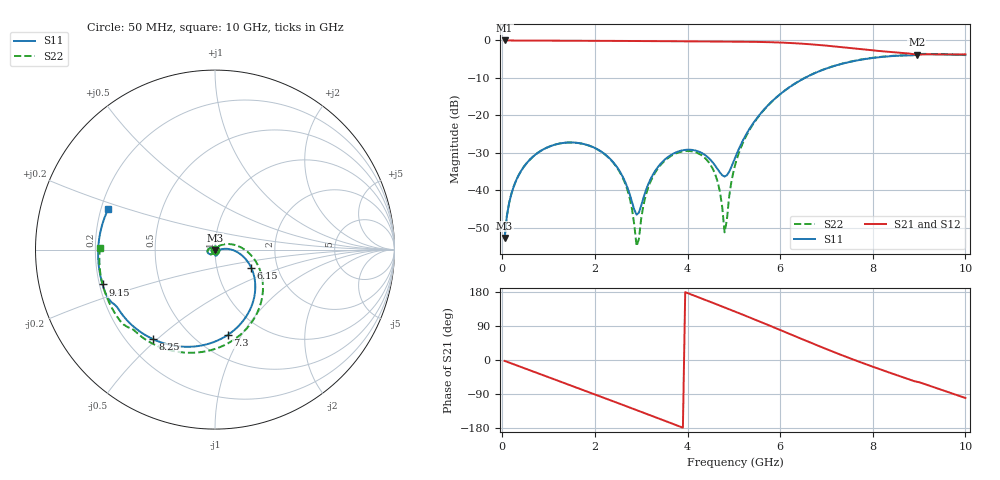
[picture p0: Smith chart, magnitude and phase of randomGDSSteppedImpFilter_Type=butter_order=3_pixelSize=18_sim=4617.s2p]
! freq	dB(S11)	phase(S11)	dB(S12)	phase(S12)
!  dB(S21)	phase(S21)	dB(S22)	phase(S22)
!S-par simulation data
#  GHz  S  DB  R 50
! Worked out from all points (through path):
!   200 points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, 50 MHz to 10 GHz, reference 50 ohm
!   highest |S21| = -0.01 dB at 50 MHz (marker M1); lowest = -3.8 dB at 8.95 GHz (marker M2)
!   group delay of S21, straight-line fit = 131 ps
!   lowest |S11| = -52.8 dB at 50 MHz (marker M3), VSWR 1.00, Z = 50 - j0.23 ohm
!   |S11| at or under -10 dB: start of sweep to 6.535 GHz
!   |S22| runs from -54.9 to -3.6 dB; largest |S21 - S12| = 0
!   S11 on the Smith chart (normalised r, x): 50 MHz: 1.00, -0.00; 6.15 GHz: 1.47, -0.31; 7.3 GHz: 0.70, -0.87; 8.25 GHz: 0.31, -0.49; 9.15 GHz: 0.21, -0.14; 10 GHz: 0.23, +0.17
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0.05  -52.76 -91.0  -0.01 -2.3  -0.01 -2.3  -52.76 -90.9
0.2  -40.78 -99.1  -0.02 -9.2  -0.02 -9.2  -40.78 -99.0
0.55  -32.42 -115.8  -0.03 -25.1  -0.03 -25.1  -32.42 -115.6
1.75  -27.62 -173.1  -0.09 -79.5  -0.09 -79.5  -27.64 -171.8
2.55  -35.22 140.6  -0.13 -116.1  -0.13 -116.1  -35.43 148.0
2.75  -40.99 115.5  -0.14 -125.3  -0.14 -125.3  -42.01 132.7
2.9  -46.51 56.9  -0.15 -132.2  -0.15 -132.2  -54.92 70.7
3.1  -40.05 -20.6  -0.17 -141.5  -0.17 -141.5  -41.26 -42.2
3.4  -33.19 -49.5  -0.19 -155.4  -0.19 -155.4  -33.53 -62.3
4.4  -30.80 -88.6  -0.27 157.8  -0.27 157.8  -31.67 -113.6
4.65  -34.37 -78.3  -0.29 145.9  -0.29 145.9  -37.73 -131.1
4.8  -36.33 -48.6  -0.30 138.7  -0.30 138.7  -51.23 168.6
5.05  -30.64 -0.6  -0.32 126.6  -0.32 126.6  -32.24 45.8
5.45  -21.54 1.3  -0.38 106.9  -0.38 106.9  -21.72 22.2
6.15  -12.93 -26.6  -0.64 71.6  -0.64 71.6  -12.93 -13.8
6.7  -9.00 -52.9  -1.07 43.7  -1.07 43.7  -8.97 -41.6
7.3  -6.35 -81.7  -1.76 14.3  -1.76 14.3  -6.31 -70.5
8.25  -4.34 -124.6  -2.94 -28.6  -2.94 -28.6  -4.29 -112.2
8.35  -4.24 -129.0  -3.05 -32.8  -3.05 -32.8  -4.18 -116.3
8.95  -3.79 -152.9  -3.80 -57.3  -3.80 -57.3  -3.73 -138.4
9.15  -3.66 -162.8  -3.70 -64.8  -3.70 -64.8  -3.60 -147.5
10  -3.92 159.3  -3.71 -100.2  -3.71 -100.2  -3.87 179.1
